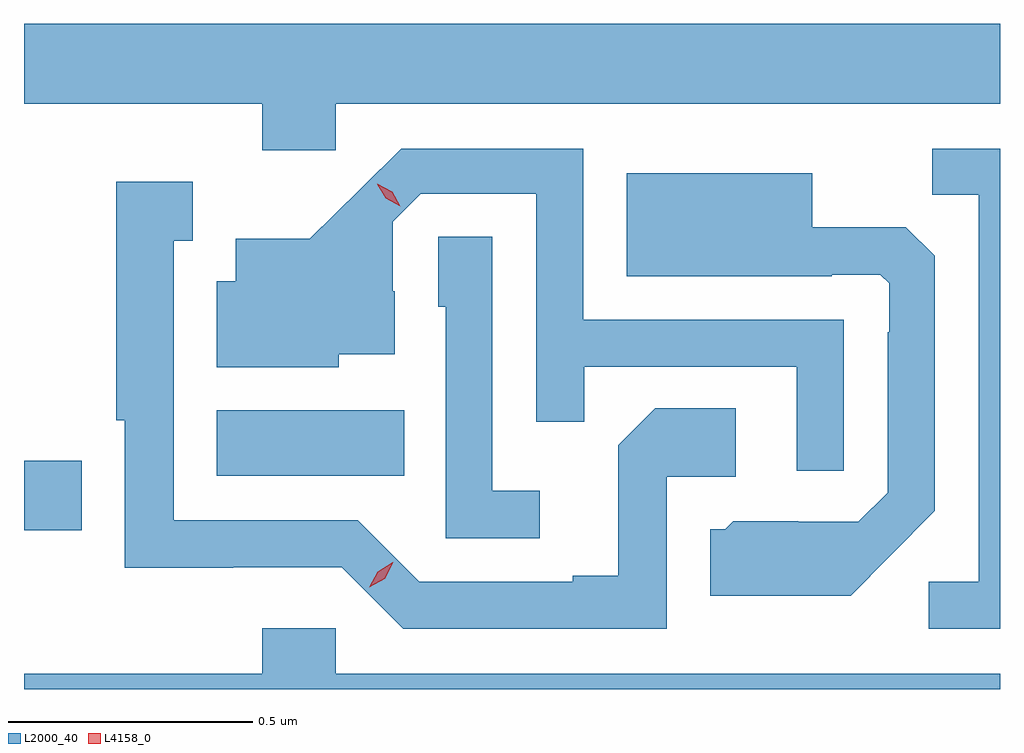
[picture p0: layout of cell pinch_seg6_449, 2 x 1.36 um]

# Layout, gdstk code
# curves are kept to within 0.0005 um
import gdstk
lib = gdstk.Library(unit=1e-6, precision=1e-09)
def R(c, l, rs):  # rectangles x0, y0, x1, y1
    for r in rs: c.add(gdstk.rectangle(r[:2], r[2:], *l))
def P(c, l, *ps):  # polygons
    for p in ps: c.add(gdstk.Polygon(p, *l))
L2000_40 = (2000, 40)
L4158_0 = (4158, 0)

pinch_seg6_449 = lib.new_cell('pinch_seg6_449')
R(pinch_seg6_449, L2000_40, [(714.177,915.826,714.295,915.968), (714.572,915.938,714.956,916.072)])
P(pinch_seg6_449, L2000_40, [(714.816,916.7),(716.177,916.7),(716.177,916.864),(714.177,916.864),(714.177,916.7),(714.665,916.7),(714.665,916.605),(714.816,916.605)],
  [(715.857,916.257),(715.323,916.257),(715.323,916.608),(714.95,916.608),(714.763,916.423),(714.611,916.423),(714.611,916.336),(714.572,916.336),(714.572,916.16),(714.822,916.16),(714.822,916.187),(714.937,916.187),(714.937,916.316),(714.933,916.316),(714.933,916.458),(714.99,916.515),(715.227,916.515),(715.227,916.048),(715.325,916.048),(715.325,916.161),(715.761,916.161),(715.761,915.948),(715.857,915.948)],
  [(716.177,916.608),(716.038,916.608),(716.038,916.513),(716.133,916.513),(716.133,915.72),(716.031,915.72),(716.031,915.624),(716.177,915.624)],
  [(715.951,915.773),(716.043,915.866),(716.043,916.388),(715.984,916.447),(715.792,916.447),(715.792,916.558),(715.412,916.558),(715.412,916.346),(715.832,916.346),(715.832,916.35),(715.932,916.35),(715.95,916.332),(715.95,916.232),(715.947,916.232),(715.947,915.903),(715.887,915.843),(715.764,915.843),(715.764,915.844),(715.63,915.844),(715.614,915.828),(715.583,915.828),(715.583,915.692),(715.871,915.692)],
  [(715.494,915.936),(715.636,915.936),(715.636,916.076),(715.471,916.076),(715.395,916),(715.395,915.733),(715.301,915.733),(715.301,915.72),(714.987,915.72),(714.861,915.846),(714.484,915.846),(714.484,916.419),(714.523,916.419),(714.523,916.54),(714.366,916.54),(714.366,916.051),(714.383,916.051),(714.383,915.749),(714.606,915.749),(714.606,915.75),(714.828,915.75),(714.954,915.624),(715.494,915.624)],
  [(715.234,915.907),(715.137,915.907),(715.137,916.427),(715.026,916.427),(715.026,916.284),(715.041,916.284),(715.041,915.81),(715.234,915.81)],
  [(716.177,915.532),(714.816,915.532),(714.816,915.625),(714.665,915.625),(714.665,915.532),(714.177,915.532),(714.177,915.5),(716.177,915.5)])
P(pinch_seg6_449, L4158_0, [(714.948,916.49),(714.918,916.506),(714.901,916.535),(714.901,916.536),(714.901,916.536),(714.932,916.52),(714.948,916.49),(714.948,916.49)],
  [(714.884,915.709),(714.884,915.709),(714.902,915.741),(714.933,915.76),(714.934,915.76),(714.934,915.76),(714.916,915.727),(714.884,915.709)])

lib.write_gds('pinch_seg6_449.gds')
